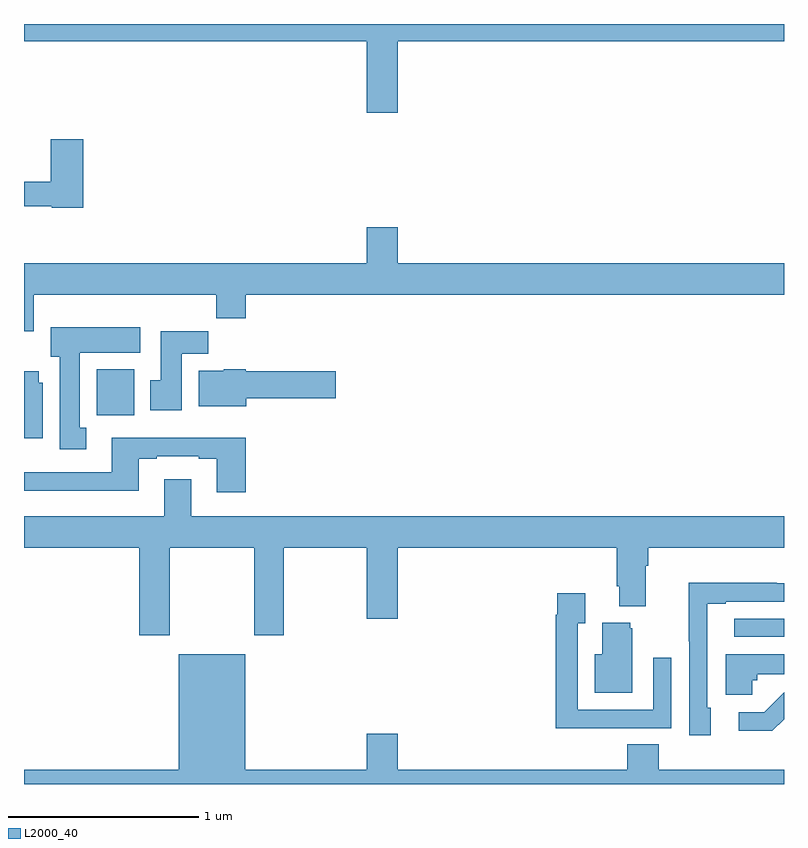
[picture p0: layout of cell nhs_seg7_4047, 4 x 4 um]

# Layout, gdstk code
import gdstk
lib = gdstk.Library(unit=1e-6, precision=1e-09)
def R(c, l, rs):  # rectangles x0, y0, x1, y1
    for r in rs: c.add(gdstk.rectangle(r[:2], r[2:], *l))
def P(c, l, *ps):  # polygons
    for p in ps: c.add(gdstk.Polygon(p, *l))
L2000_40 = (2000, 40)

nhs_seg7_4047 = lib.new_cell('nhs_seg7_4047')
R(nhs_seg7_4047, L2000_40, [(370.737,1038.774,371,1038.87), (367.382,1039.94,367.579,1040.182)])
P(nhs_seg7_4047, L2000_40, [(368.968,1041.908),(371,1041.908),(371,1042),(367,1042),(367,1041.908),(368.804,1041.908),(368.804,1041.534),(368.968,1041.534)],
  [(367.313,1041.394),(367.142,1041.394),(367.142,1041.17),(367,1041.17),(367,1041.042),(367.146,1041.042),(367.146,1041.034),(367.313,1041.034)],
  [(367.051,1040.576),(368.011,1040.576),(368.011,1040.452),(368.168,1040.452),(368.168,1040.576),(371,1040.576),(371,1040.74),(368.968,1040.74),(368.968,1040.929),(368.804,1040.929),(368.804,1040.74),(367,1040.74),(367,1040.382),(367.051,1040.382)],
  [(367.327,1039.874),(367.294,1039.874),(367.294,1040.27),(367.612,1040.27),(367.612,1040.404),(367.142,1040.404),(367.142,1040.25),(367.187,1040.25),(367.187,1039.761),(367.327,1039.761)],
  [(367.831,1040.264),(367.97,1040.264),(367.97,1040.382),(367.721,1040.382),(367.721,1040.124),(367.664,1040.124),(367.664,1039.968),(367.831,1039.968)],
  [(368.17,1040.03),(368.641,1040.03),(368.641,1040.172),(368.166,1040.172),(368.166,1040.182),(368.052,1040.182),(368.052,1040.176),(367.919,1040.176),(367.919,1039.988),(368.17,1039.988)],
  [(367.099,1040.112),(367.078,1040.112),(367.078,1040.173),(367,1040.173),(367,1039.82),(367.099,1039.82)],
  [(368.168,1039.822),(367.463,1039.822),(367.463,1039.641),(367,1039.641),(367,1039.544),(367.603,1039.544),(367.603,1039.713),(367.699,1039.713),(367.699,1039.725),(367.919,1039.725),(367.919,1039.713),(368.015,1039.713),(368.015,1039.536),(368.168,1039.536)],
  [(367.767,1039.244),(368.212,1039.244),(368.212,1038.783),(368.367,1038.783),(368.367,1039.244),(368.804,1039.244),(368.804,1038.87),(368.968,1038.87),(368.968,1039.244),(370.121,1039.244),(370.121,1039.042),(370.133,1039.042),(370.133,1038.935),(370.273,1038.935),(370.273,1039.148),(370.286,1039.148),(370.286,1039.244),(371,1039.244),(371,1039.408),(367.879,1039.408),(367.879,1039.603),(367.739,1039.603),(367.739,1039.408),(367,1039.408),(367,1039.244),(367.607,1039.244),(367.607,1038.783),(367.767,1038.783)],
  [(370.615,1038.402),(370.596,1038.402),(370.596,1038.948),(370.693,1038.948),(370.693,1038.96),(371,1038.96),(371,1039.056),(370.961,1039.056),(370.961,1039.058),(370.498,1039.058),(370.498,1038.751),(370.5,1038.751),(370.5,1038.257),(370.615,1038.257)],
  [(370.091,1038.294),(370.407,1038.294),(370.407,1038.664),(370.311,1038.664),(370.311,1038.39),(369.915,1038.39),(369.915,1038.847),(369.955,1038.847),(369.955,1039.003),(369.807,1039.003),(369.807,1038.89),(369.799,1038.89),(369.799,1038.293),(370.091,1038.293)],
  [(370.201,1038.819),(370.19,1038.819),(370.19,1038.85),(370.043,1038.85),(370.043,1038.682),(370.004,1038.682),(370.004,1038.479),(370.201,1038.479)],
  [(368.164,1038.682),(367.814,1038.682),(367.814,1038.076),(367,1038.076),(367,1038),(371,1038),(371,1038.076),(370.34,1038.076),(370.34,1038.209),(370.175,1038.209),(370.175,1038.076),(368.968,1038.076),(368.968,1038.265),(368.804,1038.265),(368.804,1038.076),(368.164,1038.076)],
  [(370.833,1038.546),(370.86,1038.546),(370.86,1038.578),(371,1038.578),(371,1038.682),(370.694,1038.682),(370.694,1038.47),(370.833,1038.47)],
  [(371,1038.341),(371,1038.483),(370.895,1038.378),(370.761,1038.378),(370.761,1038.281),(370.939,1038.281)])

lib.write_gds('nhs_seg7_4047.gds')
